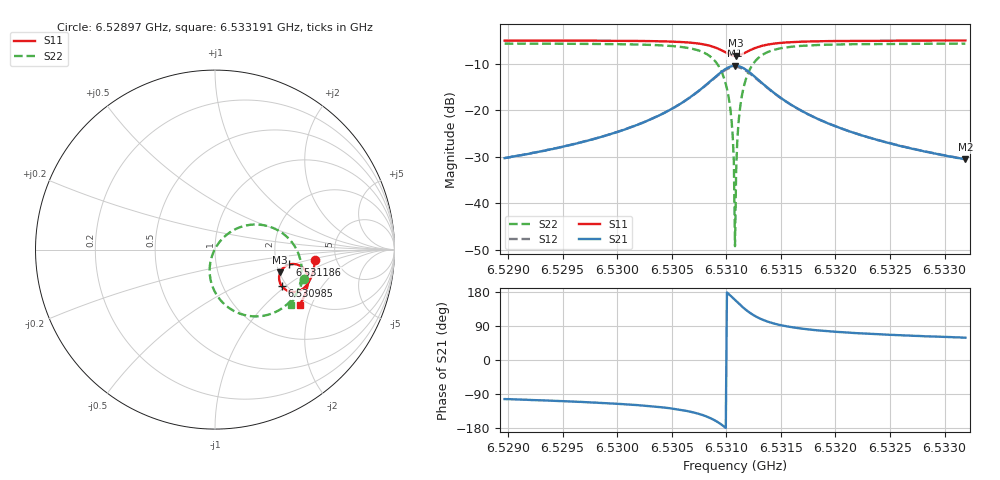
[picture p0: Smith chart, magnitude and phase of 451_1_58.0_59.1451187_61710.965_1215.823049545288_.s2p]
#  HZ  S  RI  R  50.00
! Rohde & Schwarz Vector Network Analyzer
! Rohde-Schwarz,ZNB20-2Port,1311601062101988,3.16
! Created: UTC 3/21/2024, 1:10:27 AM
! freq[Hz]  re:S11  im:S11  re:S21  im:S21  re:S12  im:S12  re:S22  im:S22
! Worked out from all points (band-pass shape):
!   401 points, 6.52897 GHz to 6.533191 GHz, reference 50 ohm
!   highest |S21| = -10.43 dB at 6.53108 GHz (marker M1); lowest = -30.6 dB at 6.533191 GHz (marker M2)
!   |S21| within 3 dB of the highest: 6.530871 GHz to 6.531293 GHz (422 kHz wide, 0.00646 % of centre)
!   lowest |S11| = -8.3 dB at 6.531091 GHz (marker M3), VSWR 2.25, Z = 101 - j30.2 ohm
!   |S11| at or under -10 dB: nowhere
!   |S22| runs from -49.3 to -5.7 dB; largest |S21 - S12| = 0.011
!   S11 on the Smith chart (normalised r, x): 6.52897 GHz: 3.45, -0.59; 6.530985 GHz: 1.88, -0.93; 6.531186 GHz: 2.35, -0.47; 6.533191 GHz: 1.82, -1.64
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6.5289696e9  0.558 -0.0583  -0.00694 -0.0297  -0.00741 -0.0297  0.4952 -0.1618
6.5296767e9  0.5477 -0.1167  -0.0161 -0.0424  -0.0171 -0.0421  0.4649 -0.2273
6.5303839e9  0.5195 -0.186  -0.0491 -0.0727  -0.051 -0.0714  0.3851 -0.3188
6.530806e9  0.4498 -0.2349  -0.1549 -0.0982  -0.1571 -0.0922  0.1817 -0.3683
6.5309116e9  0.406 -0.2299  -0.223 -0.0724  -0.2223 -0.0635  0.0653 -0.3154
6.5309855e9  0.3719 -0.2033  -0.2734 -0.0153  -0.268 -0.00578  -0.0118 -0.2109
6.5310382e9  0.3579 -0.1681  -0.2902 0.0509  -0.2812 0.0579  -0.0293 -0.0979
6.5310488e9  0.3572 -0.1601  -0.2899 0.066  -0.2803 0.0721  -0.0263 -0.0734
6.5310593e9  0.3572 -0.1518  -0.2881 0.0809  -0.2781 0.0861  -0.0211 -0.049
6.5310699e9  0.3583 -0.1435  -0.2849 0.0958  -0.2745 0.1003  -0.0131 -0.025
6.5310804e9  0.3603 -0.1354  -0.28 0.1103  -0.2694 0.1138  -0.00301 -0.00168
6.531091e9  0.3631 -0.1275  -0.2737 0.1243  -0.2632 0.127  0.00943 0.0204
6.5311016e9  0.3668 -0.1199  -0.2662 0.1377  -0.2557 0.1394  0.024 0.0412
6.5311121e9  0.3713 -0.1129  -0.2573 0.1502  -0.2472 0.1509  0.0403 0.06
6.5311227e9  0.3764 -0.1065  -0.2476 0.1614  -0.2379 0.1612  0.0581 0.0771
6.5311438e9  0.388 -0.0958  -0.2258 0.1805  -0.2168 0.179  0.0974 0.1052
6.531186e9  0.4145 -0.0828  -0.1776 0.2034  -0.1714 0.2004  0.1803 0.1358
6.5312599e9  0.4566 -0.0832  -0.1037 0.2058  -0.1004 0.2028  0.3056 0.1272
6.5313654e9  0.493 -0.1056  -0.0398 0.1755  -0.0382 0.1739  0.4102 0.0618
6.5317876e9  0.5181 -0.185  0.0155 0.0847  0.0164 0.0845  0.4831 -0.128
6.5324947e9  0.4983 -0.2565  0.0177 0.0406  0.0183 0.0403  0.4554 -0.2451
6.5331913e9  0.4712 -0.308  0.0153 0.0253  0.0158 0.0252  0.4208 -0.3066
